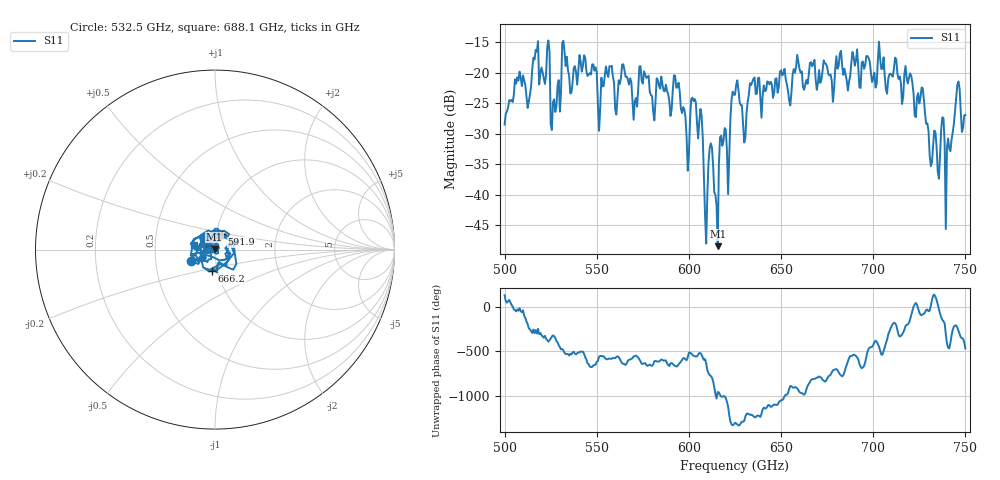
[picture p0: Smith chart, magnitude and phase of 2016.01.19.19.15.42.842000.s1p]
!Created with skrf (http://scikit-rf.org).
# GHz S RI R 50.0
!freq ReS11 ImS11
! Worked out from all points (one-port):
!   401 points, 500 GHz to 750 GHz, reference 50 ohm
!   lowest |S11| = -48.5 dB at 615.6 GHz (marker M1), VSWR 1.01, Z = 49.8 + j0.301 ohm
!   |S11| at or under -10 dB: start of sweep to end of sweep
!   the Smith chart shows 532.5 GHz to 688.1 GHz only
!   S11 on the Smith chart (normalised r, x): 532.5 GHz: 0.76, -0.10; 591.9 GHz: 1.06, +0.19; 666.2 GHz: 0.94, -0.23; 688.1 GHz: 0.79, +0.04
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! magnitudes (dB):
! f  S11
! 500 GHz  -28.5
! 516.9 GHz  -16.3
! 523.1 GHz  -15.8
! 526.2 GHz  -24.8
! 531.2 GHz  -15.2
! 532.5 GHz  -16.5
! 551.9 GHz  -25.8
! 562.5 GHz  -21.9
! 591.9 GHz  -20.4
! 593.8 GHz  -22.4
! 598.8 GHz  -30.6
! 602.5 GHz  -24.7
! 606.2 GHz  -26.0
! 609.4 GHz  -48.0
! 611.9 GHz  -31.6
! 615.6 GHz  -48.5
! 625 GHz  -23.6
! 630 GHz  -31.5
! 634.4 GHz  -21.5
! 656.2 GHz  -20.4
! 666.2 GHz  -18.3
! 687.5 GHz  -20.6
! 688.1 GHz  -18.4
! 718.8 GHz  -21.8
! 731.2 GHz  -35.3
! 740.6 GHz  -30.8
! 745.6 GHz  -22.0
! 750 GHz  -26.9
